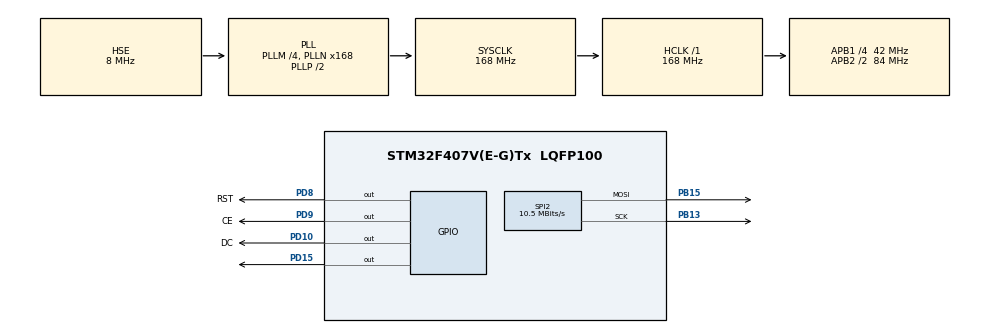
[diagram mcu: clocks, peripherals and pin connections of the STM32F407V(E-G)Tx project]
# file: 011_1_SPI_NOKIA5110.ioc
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Dma.Request0=SPI2_TX
Dma.SPI2_TX.0.Direction=DMA_MEMORY_TO_PERIPH
Dma.SPI2_TX.0.FIFOMode=DMA_FIFOMODE_DISABLE
Dma.SPI2_TX.0.Instance=DMA1_Stream4
Dma.SPI2_TX.0.MemDataAlignment=DMA_MDATAALIGN_BYTE
Dma.SPI2_TX.0.MemInc=DMA_MINC_ENABLE
Dma.SPI2_TX.0.Mode=DMA_NORMAL
Dma.SPI2_TX.0.PeriphDataAlignment=DMA_PDATAALIGN_BYTE
Dma.SPI2_TX.0.PeriphInc=DMA_PINC_DISABLE
Dma.SPI2_TX.0.Priority=DMA_PRIORITY_LOW
Mcu.Family=STM32F4
Mcu.Name=STM32F407V(E-G)Tx
Mcu.Package=LQFP100
NVIC.DMA1_Stream4_IRQn=true\:0\:0\:false\:false\:true\:false\:true\:true
NVIC.PriorityGroup=NVIC_PRIORITYGROUP_4
PB13.Mode=TX_Only_Simplex_Unidirect_Master
PB13.Signal=SPI2_SCK
PB15.Mode=TX_Only_Simplex_Unidirect_Master
PB15.Signal=SPI2_MOSI
PD10.GPIO_Label=DC
PD10.Signal=GPIO_Output
PD15.Signal=GPIO_Output
PD8.GPIO_Label=RST
PD8.Signal=GPIO_Output
PD9.GPIO_Label=CE
PD9.Signal=GPIO_Output
PH0-OSC_IN.Mode=HSE-External-Oscillator
PH0-OSC_IN.Signal=RCC_OSC_IN
PH1-OSC_OUT.Mode=HSE-External-Oscillator
PH1-OSC_OUT.Signal=RCC_OSC_OUT
ProjectManager.HeapSize=0x200
ProjectManager.StackSize=0x400
ProjectManager.TargetToolchain=STM32CubeIDE
RCC.48MHZClocksFreq_Value=84000000
RCC.AHBFreq_Value=168000000
RCC.APB1CLKDivider=RCC_HCLK_DIV4
RCC.APB1Freq_Value=42000000
RCC.APB1TimFreq_Value=84000000
RCC.APB2CLKDivider=RCC_HCLK_DIV2
RCC.APB2Freq_Value=84000000
RCC.APB2TimFreq_Value=168000000
RCC.CortexFreq_Value=168000000
RCC.HCLKFreq_Value=168000000
RCC.HSE_VALUE=8000000
RCC.HSI_VALUE=16000000
RCC.LSE_VALUE=32768
RCC.PLLM=4
RCC.PLLN=168
RCC.PLLSourceVirtual=RCC_PLLSOURCE_HSE
RCC.SYSCLKFreq_VALUE=168000000
RCC.SYSCLKSource=RCC_SYSCLKSOURCE_PLLCLK
RCC.VCOOutputFreq_Value=336000000
SPI2.BaudRatePrescaler=SPI_BAUDRATEPRESCALER_4
SPI2.CalculateBaudRate=10.5 MBits/s
SPI2.Direction=SPI_DIRECTION_2LINES
SPI2.Mode=SPI_MODE_MASTER
SPI2.VirtualType=VM_MASTER
board=custom

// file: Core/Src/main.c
/* USER CODE BEGIN Header */
/**
  ******************************************************************************
  * @file           : main.c
  * @brief          : Main program body
  ******************************************************************************
  * @attention
  *
  * Copyright (c) 2023 STMicroelectronics.
  * All rights reserved.
  *
  * This software is licensed under terms that can be found in the LICENSE file
  * in the root directory of this software component.
  * If no LICENSE file comes with this software, it is provided AS-IS.
  *
  ******************************************************************************
  */
/* USER CODE END Header */
#include "main.h"

/* USER CODE BEGIN Includes */

#include "Nokia5110.h"
/* USER CODE END Includes */

SPI_HandleTypeDef hspi2;
DMA_HandleTypeDef hdma_spi2_tx;

void SystemClock_Config(void);
static void MX_GPIO_Init(void);
static void MX_DMA_Init(void);
static void MX_SPI2_Init(void);

int main(void)
{

  /* MCU Configuration--------------------------------------------------------*/

  /* Reset of all peripherals, Initializes the Flash interface and the Systick. */
  HAL_Init();

  /* Configure the system clock */
  SystemClock_Config();

  /* Initialize all configured peripherals */
  MX_GPIO_Init();
  MX_DMA_Init();
  MX_SPI2_Init();

  /* Infinite loop */
  while (1)
  {

    /* USER CODE BEGIN 3 */
	  SetPixel(0, 0, 1);
	  SetPixel(1, 0, 1);
	  SetPixel(2, 0, 1);
	  SetPixel(3, 0, 1);
	  SetPixel(4, 0, 1);
	  SetPixel(0, 1, 1);
	  SetPixel(0, 2, 1);
	  SetPixel(0, 3, 1);
	  SetPixel(1, 3, 1);
		  SetPixel(2, 3, 1);
		  SetPixel(3, 3, 1);
		  SetPixel(0, 4, 1);
		  SetPixel(0, 5, 1);
		  SetPixel(0, 6, 1);
		  Uptade();
  }
  /* USER CODE END 3 */
}

void SystemClock_Config(void)
{
  RCC_OscInitTypeDef RCC_OscInitStruct = {0};
  RCC_ClkInitTypeDef RCC_ClkInitStruct = {0};

  /** Configure the main internal regulator output voltage
  */
  __HAL_RCC_PWR_CLK_ENABLE();
  __HAL_PWR_VOLTAGESCALING_CONFIG(PWR_REGULATOR_VOLTAGE_SCALE1);

  /** Initializes the RCC Oscillators according to the specified parameters
  * in the RCC_OscInitTypeDef structure.
  */
  RCC_OscInitStruct.OscillatorType = RCC_OSCILLATORTYPE_HSE;
  RCC_OscInitStruct.HSEState = RCC_HSE_ON;
  RCC_OscInitStruct.PLL.PLLState = RCC_PLL_ON;
  RCC_OscInitStruct.PLL.PLLSource = RCC_PLLSOURCE_HSE;
  RCC_OscInitStruct.PLL.PLLM = 4;
  RCC_OscInitStruct.PLL.PLLN = 168;
  RCC_OscInitStruct.PLL.PLLP = RCC_PLLP_DIV2;
  RCC_OscInitStruct.PLL.PLLQ = 4;
  if (HAL_RCC_OscConfig(&RCC_OscInitStruct) != HAL_OK)
  {
    Error_Handler();
  }

  /** Initializes the CPU, AHB and APB buses clocks
  */
  RCC_ClkInitStruct.ClockType = RCC_CLOCKTYPE_HCLK|RCC_CLOCKTYPE_SYSCLK
                              |RCC_CLOCKTYPE_PCLK1|RCC_CLOCKTYPE_PCLK2;
  RCC_ClkInitStruct.SYSCLKSource = RCC_SYSCLKSOURCE_PLLCLK;
  RCC_ClkInitStruct.AHBCLKDivider = RCC_SYSCLK_DIV1;
  RCC_ClkInitStruct.APB1CLKDivider = RCC_HCLK_DIV4;
  RCC_ClkInitStruct.APB2CLKDivider = RCC_HCLK_DIV2;

  if (HAL_RCC_ClockConfig(&RCC_ClkInitStruct, FLASH_LATENCY_5) != HAL_OK)
  {
    Error_Handler();
  }
}

static void MX_SPI2_Init(void)
{

  /* SPI2 parameter configuration*/
  hspi2.Instance = SPI2;
  hspi2.Init.Mode = SPI_MODE_MASTER;
  hspi2.Init.Direction = SPI_DIRECTION_2LINES;
  hspi2.Init.DataSize = SPI_DATASIZE_8BIT;
  hspi2.Init.CLKPolarity = SPI_POLARITY_LOW;
  hspi2.Init.CLKPhase = SPI_PHASE_1EDGE;
  hspi2.Init.NSS = SPI_NSS_SOFT;
  hspi2.Init.BaudRatePrescaler = SPI_BAUDRATEPRESCALER_4;
  hspi2.Init.FirstBit = SPI_FIRSTBIT_MSB;
  hspi2.Init.TIMode = SPI_TIMODE_DISABLE;
  hspi2.Init.CRCCalculation = SPI_CRCCALCULATION_DISABLE;
  hspi2.Init.CRCPolynomial = 10;
  if (HAL_SPI_Init(&hspi2) != HAL_OK)
  {
    Error_Handler();
  }

}

static void MX_DMA_Init(void)
{

  /* DMA controller clock enable */
  __HAL_RCC_DMA1_CLK_ENABLE();

  /* DMA interrupt init */
  /* DMA1_Stream4_IRQn interrupt configuration */
  HAL_NVIC_SetPriority(DMA1_Stream4_IRQn, 0, 0);
  HAL_NVIC_EnableIRQ(DMA1_Stream4_IRQn);

}

static void MX_GPIO_Init(void)
{
  GPIO_InitTypeDef GPIO_InitStruct = {0};

  /* GPIO Ports Clock Enable */
  __HAL_RCC_GPIOH_CLK_ENABLE();
  __HAL_RCC_GPIOB_CLK_ENABLE();
  __HAL_RCC_GPIOD_CLK_ENABLE();

  /*Configure GPIO pin Output Level */
  HAL_GPIO_WritePin(GPIOD, RST_Pin|CE_Pin|DC_Pin|GPIO_PIN_15, GPIO_PIN_RESET);

  /*Configure GPIO pins : RST_Pin CE_Pin DC_Pin PD15 */
  GPIO_InitStruct.Pin = RST_Pin|CE_Pin|DC_Pin|GPIO_PIN_15;
  GPIO_InitStruct.Mode = GPIO_MODE_OUTPUT_PP;
  GPIO_InitStruct.Pull = GPIO_NOPULL;
  GPIO_InitStruct.Speed = GPIO_SPEED_FREQ_LOW;
  HAL_GPIO_Init(GPIOD, &GPIO_InitStruct);

}

void Error_Handler(void)
{
  __disable_irq();
  while (1)
  {
  }
}
